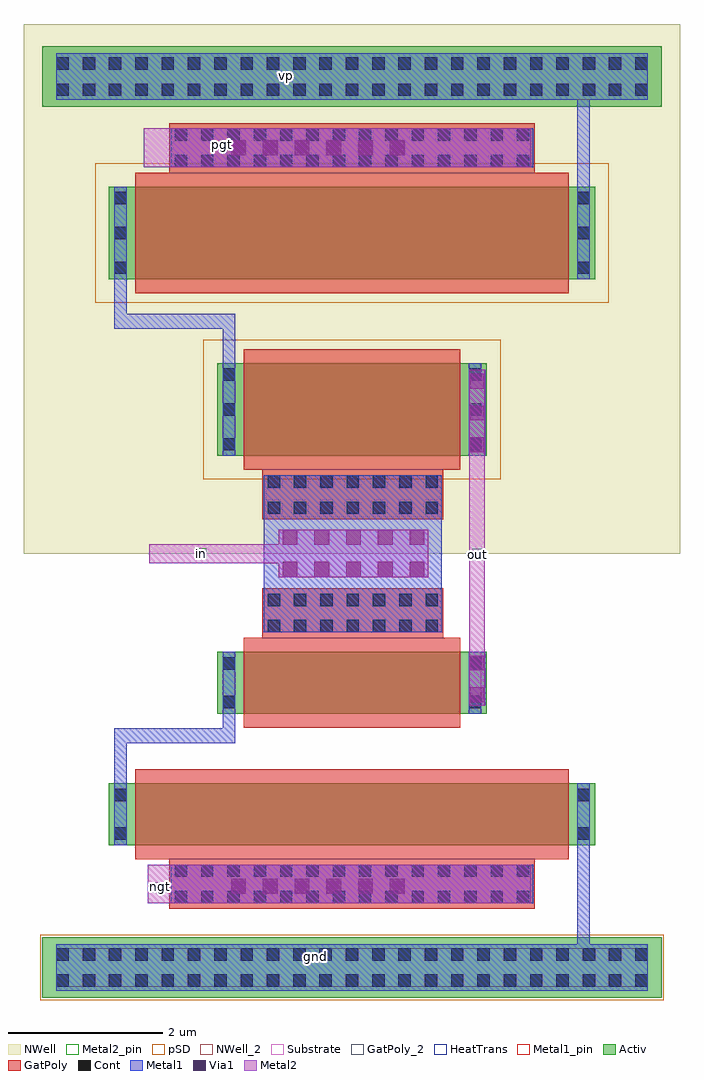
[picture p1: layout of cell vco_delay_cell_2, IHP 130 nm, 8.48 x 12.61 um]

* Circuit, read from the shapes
.subckt vco_delay_cell_2 gnd in ngt out pgt vp
XM1 gnd ngt n1 gnd sg13_lv_nmos w=0.8u l=5.6u
XM2 out in n1 gnd sg13_lv_nmos w=0.8u l=2.8u
XM3 vp pgt n2 vp sg13_lv_pmos w=1.2u l=5.6u
XM4 out in n2 vp sg13_lv_pmos w=1.2u l=2.8u
.ends

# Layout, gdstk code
from math import pi, radians
import gdstk
lib = gdstk.Library(unit=1e-6, precision=1e-09)
def R(c, l, rs):  # rectangles x0, y0, x1, y1
    for r in rs: c.add(gdstk.rectangle(r[:2], r[2:], *l))
def A(c, l, x, y, w, h, nx, ny, dx, dy):  # array of equal rectangles
    R(c, l, [(x+i*dx, y+j*dy, x+i*dx+w, y+j*dy+h) for i in range(nx) for j in range(ny)])
Activ = (1, 0)
GatPoly = (5, 0)
GatPoly_2 = (5, 2)
Cont = (6, 0)
Metal1 = (8, 0)
Metal1_pin = (8, 2)
Metal2 = (10, 0)
Metal2_pin = (10, 2)
pSD = (14, 0)
Via1 = (19, 0)
NWell = (31, 0)
NWell_2 = (31, 2)
Substrate = (40, 0)
HeatTrans = (51, 0)

via_15 = lib.new_cell('Via$15')
R(via_15, GatPoly, [(-2.36,-0.32,2.36,0.32)])
A(via_15, Cont, -2.29, -0.25, 0.16, 0.16, 14, 2, 0.34, 0.34)
R(via_15, Metal1, [(-2.34,-0.25,2.34,0.25)])

via_7 = lib.new_cell('Via$7')
R(via_7, Metal1, [(-0.555,-0.105,0.555,0.105)])
R(via_7, Metal2, [(-0.555,-0.1,0.555,0.1)])
A(via_7, Via1, -0.505, -0.095, 0.19, 0.19, 3, 1, 0.41, 0)

pmos_2 = lib.new_cell('pmos$2')
R(pmos_2, Activ, [(0,0,0.3,0.3), (0,0,3.48,1.2), (3.18,0,3.48,0.3)])
R(pmos_2, GatPoly, [(0.34,-0.18,3.14,1.38), (0.34,-0.18,3.14,1.38)])
A(pmos_2, Cont, 0.07, 0.07, 0.16, 0.16, 1, 3, 0, 0.45)
A(pmos_2, Cont, 3.25, 0.07, 0.16, 0.16, 1, 3, 0, 0.45)
R(pmos_2, Metal1, [(0.07,0,0.23,1.2), (0.07,0,0.23,1.2), (3.25,0,3.41,1.2), (3.25,0,3.41,1.2)])
R(pmos_2, pSD, [(-0.18,-0.3,3.66,1.5)])
R(pmos_2, NWell, [(-0.31,-0.31,3.79,1.51)])
R(pmos_2, HeatTrans, [(0.34,-0.18,3.14,1.38)])
pmos_2.add(gdstk.Label('pmos', (1.74,0.6), layer=63, texttype=0))
pmos_2.add(gdstk.Label('pmos', (1.74,0.6), layer=51, texttype=0))

via_12 = lib.new_cell('Via$12')
R(via_12, GatPoly, [(-1.17,-0.32,1.17,0.32)])
A(via_12, Cont, -1.1, -0.25, 0.16, 0.16, 7, 2, 0.34, 0.34)
R(via_12, Metal1, [(-1.15,-0.25,1.15,0.25)])

ntap1_2 = lib.new_cell('ntap1$2')
R(ntap1_2, Activ, [(0,0,8,0.78)])
A(ntap1_2, Cont, 0.18, 0.14, 0.16, 0.16, 23, 2, 0.34, 0.34)
R(ntap1_2, Metal1, [(0.18,0.09,7.82,0.69)])
R(ntap1_2, Metal1_pin, [(0.18,0.09,7.82,0.69), (0.18,0.14,7.82,0.64)])
R(ntap1_2, NWell, [(-0.24,-0.24,8.24,1.02), (0,0,8,0.78)])
R(ntap1_2, NWell_2, [(0,0,8,0.78)])
ntap1_2.add(gdstk.Label('well', (4,0.01), layer=31, texttype=0))
ntap1_2.add(gdstk.Label('well', (4,0.01), layer=63, texttype=0))

via_8 = lib.new_cell('Via$8')
R(via_8, Metal1, [(-0.965,-0.31,0.965,0.31)])
R(via_8, Metal2, [(-0.965,-0.305,0.965,0.305)])
A(via_8, Via1, -0.915, -0.3, 0.19, 0.19, 5, 2, 0.41, 0.41)

nmos_5 = lib.new_cell('nmos$5')
R(nmos_5, Activ, [(0,0,0.3,0.3), (0,0,6.28,0.8), (5.98,0,6.28,0.3)])
R(nmos_5, GatPoly, [(0.34,-0.18,5.94,0.98)])
R(nmos_5, GatPoly_2, [(0.34,-0.18,5.94,0.98)])
R(nmos_5, Cont, [(0.07,0.07,0.23,0.23), (6.05,0.07,6.21,0.23), (0.07,0.57,0.23,0.73), (6.05,0.57,6.21,0.73)])
R(nmos_5, Metal1, [(0.07,0,0.23,0.8), (6.05,0,6.21,0.8)])
R(nmos_5, Metal1_pin, [(0.07,0,0.23,0.8), (6.05,0,6.21,0.8)])
R(nmos_5, HeatTrans, [(0.34,-0.18,5.94,0.98)])
nmos_5.add(gdstk.Label('nmos', (3.14,0.4), layer=63, texttype=0))
nmos_5.add(gdstk.Label('nmos', (3.14,0.4), layer=51, texttype=0))

pmos_6 = lib.new_cell('pmos$6')
R(pmos_6, Activ, [(0,0,0.3,0.3), (0,0,6.28,1.2), (5.98,0,6.28,0.3)])
R(pmos_6, GatPoly, [(0.34,-0.18,5.94,1.38), (0.34,-0.18,5.94,1.38)])
A(pmos_6, Cont, 0.07, 0.07, 0.16, 0.16, 1, 3, 0, 0.45)
A(pmos_6, Cont, 6.05, 0.07, 0.16, 0.16, 1, 3, 0, 0.45)
R(pmos_6, Metal1, [(0.07,0,0.23,1.2), (0.07,0,0.23,1.2), (6.05,0,6.21,1.2), (6.05,0,6.21,1.2)])
R(pmos_6, pSD, [(-0.18,-0.3,6.46,1.5)])
R(pmos_6, NWell, [(-0.31,-0.31,6.59,1.51)])
R(pmos_6, HeatTrans, [(0.34,-0.18,5.94,1.38)])
pmos_6.add(gdstk.Label('pmos', (3.14,0.6), layer=63, texttype=0))
pmos_6.add(gdstk.Label('pmos', (3.14,0.6), layer=51, texttype=0))

via_11 = lib.new_cell('Via$11')
R(via_11, Metal1, [(-0.35,-0.105,0.35,0.105)])
R(via_11, Metal2, [(-0.35,-0.1,0.35,0.1)])
R(via_11, Via1, [(-0.3,-0.095,-0.11,0.095), (0.11,-0.095,0.3,0.095)])

nmos_4 = lib.new_cell('nmos$4')
R(nmos_4, Activ, [(0,0,0.3,0.3), (0,0,3.48,0.8), (3.18,0,3.48,0.3)])
R(nmos_4, GatPoly, [(0.34,-0.18,3.14,0.98)])
R(nmos_4, GatPoly_2, [(0.34,-0.18,3.14,0.98)])
R(nmos_4, Cont, [(0.07,0.07,0.23,0.23), (3.25,0.07,3.41,0.23), (0.07,0.57,0.23,0.73), (3.25,0.57,3.41,0.73)])
R(nmos_4, Metal1, [(0.07,0,0.23,0.8), (3.25,0,3.41,0.8)])
R(nmos_4, Metal1_pin, [(0.07,0,0.23,0.8), (3.25,0,3.41,0.8)])
R(nmos_4, HeatTrans, [(0.34,-0.18,3.14,0.98)])
nmos_4.add(gdstk.Label('nmos', (1.74,0.4), layer=63, texttype=0))
nmos_4.add(gdstk.Label('nmos', (1.74,0.4), layer=51, texttype=0))

via_14 = lib.new_cell('Via$14')
R(via_14, Metal1, [(-1.17,-0.105,1.17,0.105)])
R(via_14, Metal2, [(-1.17,-0.1,1.17,0.1)])
A(via_14, Via1, -1.12, -0.095, 0.19, 0.19, 6, 1, 0.41, 0)

ptap1_2 = lib.new_cell('ptap1$2')
R(ptap1_2, Activ, [(0,0,8,0.78)])
A(ptap1_2, Cont, 0.18, 0.14, 0.16, 0.16, 23, 2, 0.34, 0.34)
R(ptap1_2, Metal1, [(0.18,0.09,7.82,0.69), (0.18,0.14,7.82,0.64)])
R(ptap1_2, Metal1_pin, [(0.18,0.14,7.82,0.64)])
R(ptap1_2, pSD, [(-0.03,-0.03,8.03,0.81)])
R(ptap1_2, Substrate, [(0,0,8,0.78)])
ptap1_2.add(gdstk.Label('sub!', (4,0.01), layer=63, texttype=0))
ptap1_2.add(gdstk.Label('sub!', (4,0.01), layer=40, texttype=0))

vco_delay_cell_2 = lib.new_cell('vco_delay_cell_2')
R(vco_delay_cell_2, Metal1, [(4.15,-4.85,4.31,-3.55), (0.02,-4.32,0.14,-3.82), (0.14,-4.32,0.48,-3.82), (-1.83,-2.77,-1.67,-2.195), (-1.83,-2.25,-0.43,-2.06), (-0.43,-2.25,-0.27,-1.87), (0.1,-0.82,2.4,1.21), (-0.43,2.13,-0.27,3.16), (-1.83,3.105,-1.67,3.97), (-1.825,3.105,-0.27,3.295), (4.15,4.71,4.31,6.27)])
R(vco_delay_cell_2, Metal1_pin, [(0.705,-5.08,0.835,-4.95), (0.335,6.315,0.465,6.445)])
R(vco_delay_cell_2, Metal2, [(-1.4,-4.32,-0.51,-3.82), (-0.52,-4.32,3.55,-3.82), (2.755,-1.76,2.955,0.57), (2.755,-0.16,2.955,1.48), (-1.38,0.07,0.95,0.32), (-1.45,5.19,3.55,5.69)])
R(vco_delay_cell_2, Metal2_pin, [(-1.31,-4.18,-1.18,-4.05), (2.795,0.13,2.925,0.26), (-0.775,0.135,-0.645,0.265), (-0.495,5.41,-0.365,5.54)])
R(vco_delay_cell_2, NWell, [(-3,0.195,5.48,7.04), (-1.56,0.29,2.98,5.31)])
vco_delay_cell_2.add(gdstk.Reference(via_15, (1.24,5.44)))
vco_delay_cell_2.add(gdstk.Reference(via_7, (2.855,2.015), rotation=pi/2))
vco_delay_cell_2.add(gdstk.Reference(pmos_2, (-0.5,1.46)))
vco_delay_cell_2.add(gdstk.Reference(via_15, (1.24,-4.07)))
vco_delay_cell_2.add(gdstk.Reference(via_12, (1.25,0.96)))
vco_delay_cell_2.add(gdstk.Reference(ntap1_2, (-2.76,5.97)))
vco_delay_cell_2.add(gdstk.Reference(via_12, (1.25,-0.57)))
vco_delay_cell_2.add(gdstk.Reference(via_8, (1.26,0.2)))
vco_delay_cell_2.add(gdstk.Reference(nmos_5, (-1.9,-3.57)))
vco_delay_cell_2.add(gdstk.Reference(pmos_6, (-1.9,3.74)))
vco_delay_cell_2.add(gdstk.Reference(via_11, (2.855,-1.42), rotation=pi/2))
vco_delay_cell_2.add(gdstk.Reference(nmos_4, (-0.5,-1.87)))
vco_delay_cell_2.add(gdstk.Reference(via_14, (0.8,-4.1)))
vco_delay_cell_2.add(gdstk.Reference(via_14, (0.8,5.44)))
vco_delay_cell_2.add(gdstk.Reference(ptap1_2, (-2.76,-5.54)))
vco_delay_cell_2.add(gdstk.Label('out', (2.86,0.18), layer=10, texttype=25))
vco_delay_cell_2.add(gdstk.Label('in', (-0.71,0.2), layer=10, texttype=25))
vco_delay_cell_2.add(gdstk.Label('ngt', (-1.24,-4.11), layer=10, texttype=25))
vco_delay_cell_2.add(gdstk.Label('pgt', (-0.43,5.48), layer=10, texttype=25))
vco_delay_cell_2.add(gdstk.Label('gnd', (0.77,-5.01), layer=8, texttype=25))
vco_delay_cell_2.add(gdstk.Label('vp', (0.4,6.38), layer=8, texttype=25))

lib.write_gds('vco_delay_cell_2.gds')
